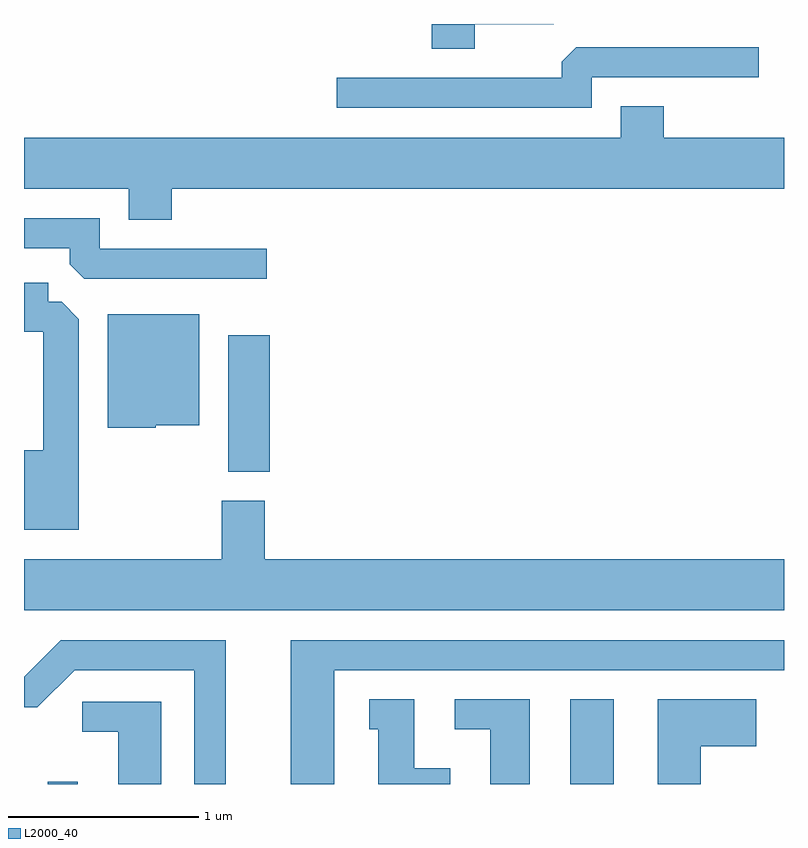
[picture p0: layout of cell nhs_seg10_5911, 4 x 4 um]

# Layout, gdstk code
import gdstk
lib = gdstk.Library(unit=1e-6, precision=1e-09)
def R(c, l, rs):  # rectangles x0, y0, x1, y1
    for r in rs: c.add(gdstk.rectangle(r[:2], r[2:], *l))
def P(c, l, *ps):  # polygons
    for p in ps: c.add(gdstk.Polygon(p, *l))
L2000_40 = (2000, 40)

nhs_seg10_5911 = lib.new_cell('nhs_seg10_5911')
R(nhs_seg10_5911, L2000_40, [(359.736,2148.522,359.894,2148.533), (362.486,2148.522,362.714,2148.969), (360.686,2150.166,360.904,2150.884)])
P(nhs_seg10_5911, L2000_40, [(361.984,2152.521),(362.399,2152.521),(362.4,2152.522),(361.756,2152.522),(361.756,2152.391),(361.984,2152.391)],
  [(362.599,2152.241),(363.478,2152.241),(363.478,2152.399),(362.517,2152.399),(362.441,2152.324),(362.441,2152.239),(361.258,2152.239),(361.258,2152.081),(362.599,2152.081)],
  [(360.389,2151.656),(363.611,2151.656),(363.611,2151.924),(362.979,2151.924),(362.979,2152.089),(362.751,2152.089),(362.751,2151.924),(359.611,2151.924),(359.611,2151.656),(360.161,2151.656),(360.161,2151.491),(360.389,2151.491)],
  [(360.888,2151.339),(360.009,2151.339),(360.009,2151.499),(359.611,2151.499),(359.611,2151.341),(359.851,2151.341),(359.851,2151.257),(359.927,2151.181),(360.888,2151.181)],
  [(359.899,2150.969),(359.809,2151.059),(359.739,2151.059),(359.739,2151.159),(359.611,2151.159),(359.611,2150.901),(359.711,2150.901),(359.711,2150.279),(359.611,2150.279),(359.611,2149.861),(359.899,2149.861)],
  [(360.305,2150.411),(360.534,2150.411),(360.534,2150.994),(360.051,2150.994),(360.051,2150.396),(360.305,2150.396)],
  [(363.611,2149.704),(360.879,2149.704),(360.879,2150.014),(360.651,2150.014),(360.651,2149.704),(359.611,2149.704),(359.611,2149.436),(363.611,2149.436)],
  [(361.244,2149.121),(363.611,2149.121),(363.611,2149.279),(361.016,2149.279),(361.016,2148.522),(361.244,2148.522)],
  [(360.674,2149.279),(359.804,2149.279),(359.611,2149.086),(359.611,2148.926),(359.682,2148.926),(359.877,2149.121),(360.506,2149.121),(360.506,2148.522),(360.674,2148.522)],
  [(362.274,2148.969),(361.878,2148.969),(361.878,2148.811),(362.066,2148.811),(362.066,2148.522),(362.274,2148.522)],
  [(361.854,2148.604),(361.664,2148.604),(361.664,2148.969),(361.428,2148.969),(361.428,2148.811),(361.476,2148.811),(361.476,2148.522),(361.854,2148.522)],
  [(363.174,2148.721),(363.464,2148.721),(363.464,2148.969),(362.946,2148.969),(362.946,2148.522),(363.174,2148.522)],
  [(360.334,2148.954),(359.918,2148.954),(359.918,2148.796),(360.106,2148.796),(360.106,2148.522),(360.334,2148.522)])

lib.write_gds('nhs_seg10_5911.gds')
